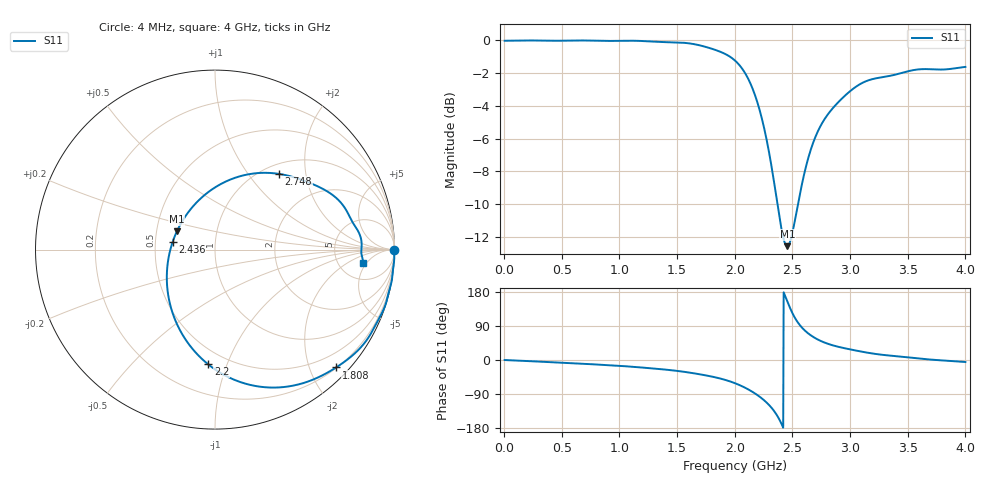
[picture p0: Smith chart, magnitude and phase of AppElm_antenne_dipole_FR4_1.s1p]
! TOUCHSTONE file generated by CST MICROWAVE STUDIO
! Date and time: Thu May 12 17:57:29 2022
! Project name: AppElm_antenne_dipole_FR4.cst
! Parameters = {L=38.8; e=0.035; f=2.45e+09; h=1.6; i=0.8; l1=4; lambda=122.449; ls=30; wl=1.7; ws=60}
! Header version: 2018
! Port assignment regex: !\s*Touchstone port\s*([0-9]+)\s*=\s*(CST MWS port|CST DS port)\s*([0-9]+|Zmin|Zmax)\s*\(\"(.*)\"\)(\s*mode\s*([0-9]+))?.*
! Touchstone port assignment:
! Touchstone port 1 = CST MWS port 1 ("")
# GHz S MA R 50
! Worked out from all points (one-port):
!   1000 points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, 4 MHz to 4 GHz, reference 50 ohm
!   lowest |S11| = -12.6 dB at 2.456 GHz (marker M1), VSWR 1.62, Z = 31.9 + j6.83 ohm
!   |S11| at or under -10 dB: 2.37 GHz to 2.548 GHz (177.9 MHz wide, 7.23 % of centre)
!   S11 on the Smith chart (normalised r, x): 4 MHz: open; 1.808 GHz: 0.21, -2.45; 2.2 GHz: 0.40, -0.86; 2.436 GHz: 0.62, +0.06; 2.748 GHz: 1.17, +1.42; 4 GHz: 8.62, -4.30
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0.004  0.9979 -0.1
0.504  0.9981 -7.0
1.004  0.9973 -15.5
1.224  0.9951 -20.6
1.504  0.9863 -28.9
1.656  0.9731 -35.6
1.808  0.9417 -44.2
1.912  0.9112 -52.0
2.004  0.8669 -61.5
2.108  0.774 -76.1
2.156  0.7105 -84.5
2.2  0.6404 -93.4
2.268  0.5138 -110.0
2.324  0.4019 -127.9
2.38  0.3002 -153.3
2.436  0.2398 169.8
2.456  0.2355 154.6
2.504  0.2627 121.2
2.56  0.3327 93.7
2.616  0.41 75.5
2.676  0.4831 61.7
2.748  0.5516 49.9
2.856  0.6246 38.2
3.004  0.7019 27.8
3.184  0.7604 17.6
3.504  0.8055 7.0
3.708  0.8166 0.8
4  0.8303 -5.3
